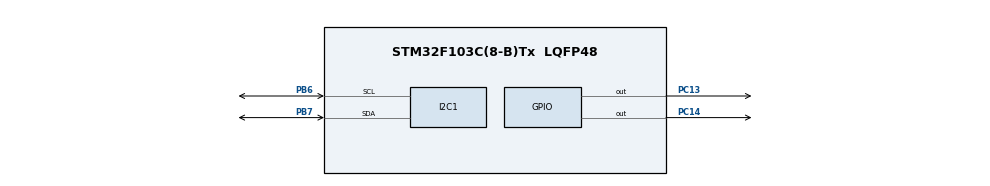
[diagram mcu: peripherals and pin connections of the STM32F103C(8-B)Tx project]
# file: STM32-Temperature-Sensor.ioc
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Mcu.Family=STM32F1
Mcu.Name=STM32F103C(8-B)Tx
Mcu.Package=LQFP48
NVIC.PriorityGroup=NVIC_PRIORITYGROUP_4
PA0-WKUP.Mode=SYS_WakeUp0
PA0-WKUP.Signal=SYS_WKUP
PA13.Mode=Serial_Wire
PA13.Signal=SYS_JTMS-SWDIO
PA14.Mode=Serial_Wire
PA14.Signal=SYS_JTCK-SWCLK
PB6.GPIO_Pu=GPIO_PULLUP
PB6.Mode=I2C
PB6.Signal=I2C1_SCL
PB7.GPIO_Pu=GPIO_PULLUP
PB7.Mode=I2C
PB7.Signal=I2C1_SDA
PC13-TAMPER-RTC.GPIO_ModeDefaultOutputPP=GPIO_MODE_OUTPUT_PP
PC13-TAMPER-RTC.GPIO_PuPd=GPIO_PULLUP
PC13-TAMPER-RTC.PinState=GPIO_PIN_SET
PC13-TAMPER-RTC.Signal=GPIO_Output
PC14-OSC32_IN.GPIO_PuPd=GPIO_PULLUP
PC14-OSC32_IN.PinState=GPIO_PIN_SET
PC14-OSC32_IN.Signal=GPIO_Output
PD0-OSC_IN.Mode=HSE-External-Oscillator
PD0-OSC_IN.Signal=RCC_OSC_IN
PD1-OSC_OUT.Mode=HSE-External-Oscillator
PD1-OSC_OUT.Signal=RCC_OSC_OUT
ProjectManager.HeapSize=0x200
ProjectManager.StackSize=0x400
ProjectManager.TargetToolchain=STM32CubeIDE
RCC.APB1Freq_Value=8000000
RCC.APB2Freq_Value=8000000
board=custom

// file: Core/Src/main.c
/* USER CODE BEGIN Header */
/**
 ******************************************************************************
 * @file           : main.c
 * @brief          : Main program body
 ******************************************************************************
 * @attention
 *
 * <h2><center>&copy; Copyright (c) 2021 STMicroelectronics.
 * All rights reserved.</center></h2>
 *
 * This software component is licensed by ST under BSD 3-Clause license,
 * the "License"; You may not use this file except in compliance with the
 * License. You may obtain a copy of the License at:
 *                        opensource.org/licenses/BSD-3-Clause
 *
 ******************************************************************************
 */
/* USER CODE END Header */
#include "main.h"

I2C_HandleTypeDef hi2c1;

void SystemClock_Config(void);
static void MX_GPIO_Init(void);
static void MX_I2C1_Init(void);

int main(void) {

	/* MCU Configuration--------------------------------------------------------*/

	/* Reset of all peripherals, Initializes the Flash interface and the Systick. */
	HAL_Init();

	/* Configure the system clock */
	SystemClock_Config();

	/* Initialize all configured peripherals */
	MX_GPIO_Init();
	MX_I2C1_Init();
	/* USER CODE BEGIN 2 */
	LCD_Init(hi2c1);
	temperature_sensor_init();

	LED_State(LED_ON);
	LCD_display_welcome();

	TemperatureSensor ts;
	ts = get_temperature_sensor_data(ts);
	if (ts.is_valid) {
		LCD_sendTemperature(ts);
		HAL_Delay(10000);
	} else {
		LCD_display_error(24, "Temperature sensor error");
	}
	LCD_Clear();
	LCD_display_goodbye();
	LCD_Backlight(LCD_BACKLIGHT_OFF);

	LED_State(LED_OFF);

	HAL_PWR_DisableWakeUpPin(PWR_WAKEUP_PIN1);
	__HAL_PWR_CLEAR_FLAG(PWR_FLAG_WU);
	HAL_PWR_EnableWakeUpPin(PWR_WAKEUP_PIN1);
	HAL_PWR_EnterSTANDBYMode();
	/* USER CODE END 2 */

	/* Infinite loop */
	while (1) {

	}
}

void SystemClock_Config(void) {
	RCC_OscInitTypeDef RCC_OscInitStruct = { 0 };
	RCC_ClkInitTypeDef RCC_ClkInitStruct = { 0 };

	/** Initializes the RCC Oscillators according to the specified parameters
	 * in the RCC_OscInitTypeDef structure.
	 */
	RCC_OscInitStruct.OscillatorType = RCC_OSCILLATORTYPE_HSI;
	RCC_OscInitStruct.HSIState = RCC_HSI_ON;
	RCC_OscInitStruct.HSICalibrationValue = RCC_HSICALIBRATION_DEFAULT;
	RCC_OscInitStruct.PLL.PLLState = RCC_PLL_NONE;
	if (HAL_RCC_OscConfig(&RCC_OscInitStruct) != HAL_OK) {
		Error_Handler();
	}

	/** Initializes the CPU, AHB and APB buses clocks
	 */
	RCC_ClkInitStruct.ClockType = RCC_CLOCKTYPE_HCLK | RCC_CLOCKTYPE_SYSCLK
			| RCC_CLOCKTYPE_PCLK1 | RCC_CLOCKTYPE_PCLK2;
	RCC_ClkInitStruct.SYSCLKSource = RCC_SYSCLKSOURCE_HSI;
	RCC_ClkInitStruct.AHBCLKDivider = RCC_SYSCLK_DIV1;
	RCC_ClkInitStruct.APB1CLKDivider = RCC_HCLK_DIV1;
	RCC_ClkInitStruct.APB2CLKDivider = RCC_HCLK_DIV1;

	if (HAL_RCC_ClockConfig(&RCC_ClkInitStruct, FLASH_LATENCY_0) != HAL_OK) {
		Error_Handler();
	}
}

static void MX_I2C1_Init(void) {

	hi2c1.Instance = I2C1;
	hi2c1.Init.ClockSpeed = 100000;
	hi2c1.Init.DutyCycle = I2C_DUTYCYCLE_2;
	hi2c1.Init.OwnAddress1 = 0;
	hi2c1.Init.AddressingMode = I2C_ADDRESSINGMODE_7BIT;
	hi2c1.Init.DualAddressMode = I2C_DUALADDRESS_DISABLE;
	hi2c1.Init.OwnAddress2 = 0;
	hi2c1.Init.GeneralCallMode = I2C_GENERALCALL_DISABLE;
	hi2c1.Init.NoStretchMode = I2C_NOSTRETCH_DISABLE;
	if (HAL_I2C_Init(&hi2c1) != HAL_OK) {
		Error_Handler();
	}

}

static void MX_GPIO_Init(void) {
	GPIO_InitTypeDef GPIO_InitStruct = { 0 };

	/* GPIO Ports Clock Enable */
	__HAL_RCC_GPIOC_CLK_ENABLE();
	__HAL_RCC_GPIOD_CLK_ENABLE();
	__HAL_RCC_GPIOA_CLK_ENABLE();
	__HAL_RCC_GPIOB_CLK_ENABLE();

	/*Configure GPIO pin Output Level */
	HAL_GPIO_WritePin(GPIOC, GPIO_PIN_13 | GPIO_PIN_14, GPIO_PIN_SET);

	/*Configure GPIO pins : PC13 PC14 */
	GPIO_InitStruct.Pin = GPIO_PIN_13 | GPIO_PIN_14;
	GPIO_InitStruct.Mode = GPIO_MODE_OUTPUT_PP;
	GPIO_InitStruct.Pull = GPIO_PULLUP;
	GPIO_InitStruct.Speed = GPIO_SPEED_FREQ_LOW;
	HAL_GPIO_Init(GPIOC, &GPIO_InitStruct);

}

/* USER CODE BEGIN 4 */
void LCD_display_welcome(void) {
	uint_fast8_t delay = 100;
	LCD_SendCommand(0b10000000);
	LCD_SendString(" W");
	HAL_Delay(delay);
	LCD_SendString("e");
	HAL_Delay(delay);
	LCD_SendString("l");
	HAL_Delay(delay);
	LCD_SendString("c");
	HAL_Delay(delay);
	LCD_SendString("o");
	HAL_Delay(delay);
	LCD_SendString("m");
	HAL_Delay(delay);
	LCD_SendString("e");
	HAL_Delay(delay);
	LCD_SendString(",");
	HAL_Delay(delay);

	LCD_SendCommand(0b11000000);
	LCD_SendString("     %");
	HAL_Delay(delay);
	LCD_SendString("u");
	HAL_Delay(delay);
	LCD_SendString("s");
	HAL_Delay(delay);
	LCD_SendString("e");
	HAL_Delay(delay);
	LCD_SendString("r");
	HAL_Delay(delay);
	LCD_SendString("n");
	HAL_Delay(delay);
	LCD_SendString("a");
	HAL_Delay(delay);
	LCD_SendString("m");
	HAL_Delay(delay);
	LCD_SendString("e");
	HAL_Delay(delay);
	LCD_SendString("%");
	HAL_Delay(2500);
	LCD_Clear();
	LCD_SendCommand(0b1100);
}

void LCD_display_goodbye(void) {
	uint_fast8_t delay = 100;
	LCD_SendCommand(0b10000000);
	LCD_SendString("    G");
	HAL_Delay(delay);
	LCD_SendString("o");
	HAL_Delay(delay);
	LCD_SendString("o");
	HAL_Delay(delay);
	LCD_SendString("d");
	HAL_Delay(delay);
	LCD_SendString("b");
	HAL_Delay(delay);
	LCD_SendString("y");
	HAL_Delay(delay);
	LCD_SendString("e");
	HAL_Delay(delay);
	LCD_SendString("!");
	HAL_Delay(delay);
	HAL_Delay(2500);
	LCD_Clear();
	LCD_SendCommand(0b1100);
}

void LCD_display_error(uint8_t size, char *error_message) {
	LCD_SendCommand(0b10000000);
	LCD_SendString(error_message);
	if (size > 16) {
		HAL_Delay(100);
		LCD_SendCommand(0b11000000);
		LCD_SendString(error_message + 16);
	}
	HAL_Delay(2500);
	LCD_Clear();
	LCD_SendCommand(0b1100);
}

void LCD_sendTemperature(TemperatureSensor ts) {
	LCD_Clear();
	LCD_SendCommand(0b10000000);
	if (ts.is_valid) {
		int16_t t = get_temperature_sensor_temperature(ts);
		uint16_t rh = get_temperature_sensor_rel_humidity(ts);
		char string[20];
		sprintf(string, "Temp.: %d.%d C", t / 10, t % 10);
		LCD_SendString(string);
		memset(string, '\0', sizeof(string));
		sprintf(string, "RH: %d.%d%%", rh / 10, rh % 10);
		LCD_SendCommand(0b11000000);
		LCD_SendString(string);
	} else {
		LCD_SendString("  TEMP. SENSOR");
		LCD_SendCommand(0b11000000);
		LCD_SendString("     ERROR");
	}
}
/* USER CODE END 4 */

void Error_Handler(void) {
	__disable_irq();
	while (1) {
	}
}
